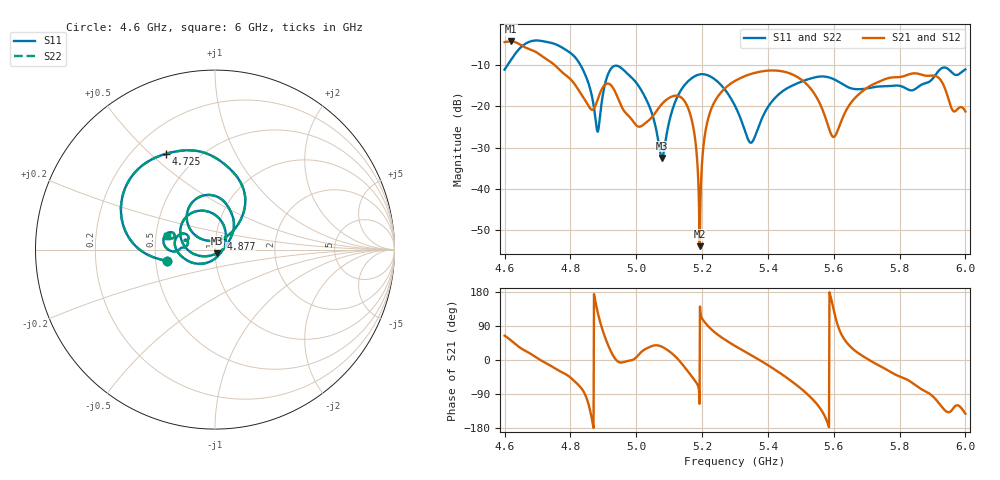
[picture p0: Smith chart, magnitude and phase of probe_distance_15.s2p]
! TOUCHSTONE file generated by CST MICROWAVE STUDIO
! Date and time: Sat Nov 30 13:11:00 2024
! Project name: test_tuning.cst
! Parameters = {airCoaxOuterDiameter=3; chamferAngle=45; chamferWidth=24; connectorLength=10; drillingHoleDiameter=4.1; feedLength=60; flareDiameter=130; flareLength=70; gratingDistance=0; gratingGap=1.90274; outletLength=30; polarizerLength=134; probe1Diameter=1.3; probe1Distance=15; probe1Length=1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
! Header version: 2024
! Port assignment regex: !\s*Touchstone port\s*([0-9]+)\s*=\s*(CST MWS port|CST DES external port|CST DES block port)\s*(.+)\s* \(\"(.*)\"\)(\s*mode\s*([0-9]+))?.*
! Touchstone port assignment:
! Touchstone port 1 = CST MWS port 1 ("Input1")
! Touchstone port 2 = CST MWS port 2 ("Input2")
# GHz S MA R 50
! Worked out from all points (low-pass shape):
!   1001 points, 4.6 GHz to 6 GHz, reference 50 ohm
!   highest |S21| = -4.38 dB at 4.618 GHz (marker M1); lowest = -53.8 dB at 5.192 GHz (marker M2)
!   |S21| within 3 dB of the highest: start of sweep to 4.704 GHz
!   lowest |S11| = -32.5 dB at 5.077 GHz (marker M3), VSWR 1.05, Z = 51.1 - j2.09 ohm
!   |S11| at or under -10 dB: start of sweep to 4.609774 GHz; 4.83 GHz to end of sweep
!   |S22| runs from -32.5 to -4.1 dB; largest |S21 - S12| = 5.4e-07
!   S11 on the Smith chart (normalised r, x): 4.6 GHz: 0.57, -0.08; 4.725 GHz: 0.34, +0.56; 4.877 GHz: 1.06, +0.12; 6 GHz: 0.57, +0.10
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4.6  0.276 -166.7  0.5922 64.2  0.5922 64.2  0.276 -166.7
4.6182  0.3552 -173.8  0.604 52.5  0.604 52.5  0.3552 -173.8
4.7246  0.5992 116.9  0.3742 -7.7  0.3742 -7.7  0.5992 116.9
4.8338  0.2964 55.7  0.1375 -75.2  0.1375 -75.2  0.2964 55.7
4.8772  0.06482 61.6  0.1042 148.5  0.1042 148.5  0.06482 61.6
4.9108  0.2227 134.3  0.1867 47.0  0.1867 47.0  0.2227 134.3
4.9444  0.3049 94.3  0.1245 -4.1  0.1245 -4.1  0.3049 94.3
5.0074  0.1744 52.7  0.05639 13.9  0.05639 13.9  0.1744 52.7
5.0676  0.03651 -7.7  0.09417 38.2  0.09417 38.2  0.03651 -7.7
5.0774  0.02358 -60.1  0.1055 35.1  0.1055 35.1  0.02358 -60.1
5.1558  0.1965 163.1  0.09821 -28.7  0.09821 -28.7  0.1965 163.1
5.1768  0.2283 146.8  0.04583 -52.7  0.04583 -52.7  0.2283 146.8
5.1922  0.2413 134.3  0.002036 -115.6  0.002036 -115.6  0.2413 134.3
5.223  0.2301 109.2  0.08144 85.3  0.08144 85.3  0.2301 109.2
5.3  0.1006 52.7  0.2014 37.1  0.2014 37.1  0.1006 52.7
5.349  0.03614 -41.6  0.2449 12.7  0.2449 12.7  0.03613 -41.6
5.4232  0.1273 -142.1  0.2687 -26.5  0.2687 -26.5  0.1273 -142.1
5.5338  0.2176 178.7  0.1554 -101.9  0.1554 -101.9  0.2176 178.7
5.5996  0.2117 156.1  0.04239 133.5  0.04239 133.5  0.2117 156.1
5.7676  0.1741 163.1  0.2187 -29.1  0.2187 -29.1  0.1741 163.1
5.9104  0.2419 -177.9  0.2302 -104.3  0.2302 -104.3  0.2419 -177.9
6  0.2769 163.6  0.08606 -141.7  0.08606 -141.7  0.2769 163.6
